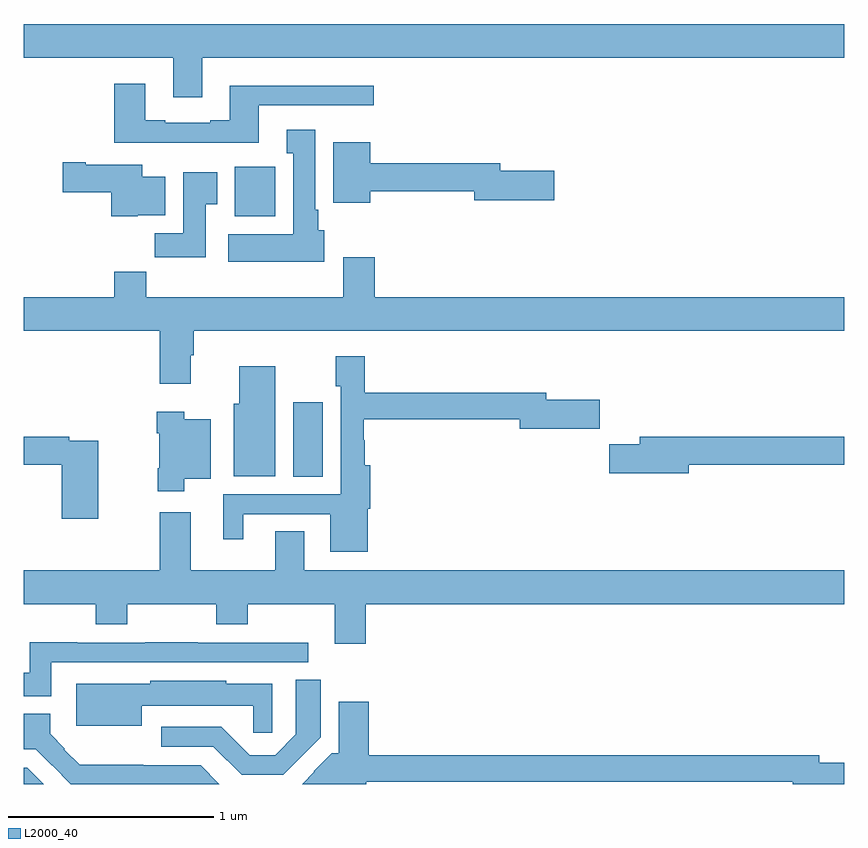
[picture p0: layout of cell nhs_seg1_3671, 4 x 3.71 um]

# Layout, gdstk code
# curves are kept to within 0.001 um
import gdstk
lib = gdstk.Library(unit=1e-6, precision=1e-09)
def R(c, l, rs):  # rectangles x0, y0, x1, y1
    for r in rs: c.add(gdstk.rectangle(r[:2], r[2:], *l))
def P(c, l, *ps):  # polygons
    for p in ps: c.add(gdstk.Polygon(p, *l))
L2000_40 = (2000, 40)

nhs_seg1_3671 = lib.new_cell('nhs_seg1_3671')
R(nhs_seg1_3671, L2000_40, [(312.314,541.696,312.457,542.059), (312.029,542.966,312.226,543.208)])
P(nhs_seg1_3671, L2000_40, [(311.869,543.74),(315,543.74),(315,543.904),(311,543.904),(311,543.74),(311.729,543.74),(311.729,543.546),(311.869,543.546)],
  [(312.145,543.507),(312.706,543.507),(312.706,543.604),(312.005,543.604),(312.005,543.436),(311.909,543.436),(311.909,543.423),(311.689,543.423),(311.689,543.436),(311.593,543.436),(311.593,543.613),(311.441,543.613),(311.441,543.326),(312.145,543.326)],
  [(312.466,542.898),(312.436,542.898),(312.436,542.998),(312.421,542.998),(312.421,543.388),(312.281,543.388),(312.281,543.275),(312.314,543.275),(312.314,542.878),(311.997,542.878),(311.997,542.744),(312.466,542.744)],
  [(312.688,543.088),(313.196,543.088),(313.196,543.046),(313.585,543.046),(313.585,543.188),(313.324,543.188),(313.324,543.224),(312.688,543.224),(312.688,543.328),(312.509,543.328),(312.509,543.032),(312.688,543.032)],
  [(311.556,542.972),(311.689,542.972),(311.689,543.16),(311.578,543.16),(311.578,543.217),(311.302,543.217),(311.302,543.23),(311.19,543.23),(311.19,543.083),(311.426,543.083),(311.426,542.966),(311.556,542.966)],
  [(311.887,543.025),(311.944,543.025),(311.944,543.181),(311.777,543.181),(311.777,542.884),(311.638,542.884),(311.638,542.766),(311.887,542.766)],
  [(311.815,542.288),(311.828,542.288),(311.828,542.408),(315,542.408),(315,542.572),(312.71,542.572),(312.71,542.767),(312.557,542.767),(312.557,542.572),(311.597,542.572),(311.597,542.696),(311.441,542.696),(311.441,542.572),(311,542.572),(311,542.408),(311.663,542.408),(311.663,542.151),(311.815,542.151)],
  [(312.676,541.542),(312.689,541.542),(312.689,541.753),(312.662,541.753),(312.662,541.875),(312.658,541.875),(312.658,541.978),(313.418,541.978),(313.418,541.931),(313.807,541.931),(313.807,542.073),(313.546,542.073),(313.546,542.107),(312.662,542.107),(312.662,542.284),(312.52,542.284),(312.52,542.139),(312.546,542.139),(312.546,541.611),(311.972,541.611),(311.972,541.392),(312.07,541.392),(312.07,541.515),(312.494,541.515),(312.494,541.331),(312.676,541.331)],
  [(312.226,542.236),(312.05,542.236),(312.05,542.052),(312.023,542.052),(312.023,541.7),(312.226,541.7)],
  [(311.782,541.688),(311.911,541.688),(311.911,541.978),(311.782,541.978),(311.782,542.014),(311.648,542.014),(311.648,541.91),(311.66,541.91),(311.66,541.738),(311.653,541.738),(311.653,541.626),(311.782,541.626)],
  [(311.364,541.872),(311.222,541.872),(311.222,541.892),(311,541.892),(311,541.756),(311.186,541.756),(311.186,541.491),(311.364,541.491)],
  [(314.242,541.756),(315,541.756),(315,541.892),(314.003,541.892),(314.003,541.856),(313.854,541.856),(313.854,541.714),(314.242,541.714)],
  [(311,541.076),(311.35,541.076),(311.35,540.977),(311.505,540.977),(311.505,541.076),(311.938,541.076),(311.938,540.977),(312.093,540.977),(312.093,541.076),(312.515,541.076),(312.515,540.882),(312.668,540.882),(312.668,541.076),(315,541.076),(315,541.24),(312.367,541.24),(312.367,541.43),(312.227,541.43),(312.227,541.24),(311.815,541.24),(311.815,541.525),(311.663,541.525),(311.663,541.24),(311,541.24)],
  [(311.134,540.792),(312.388,540.792),(312.388,540.888),(311.849,540.888),(311.849,540.89),(311.593,540.89),(311.593,540.888),(311.261,540.888),(311.261,540.89),(311.03,540.89),(311.03,540.742),(311,540.742),(311,540.626),(311.134,540.626)],
  [(312.361,540.339),(312.448,540.427),(312.448,540.707),(312.327,540.707),(312.327,540.441),(312.225,540.339),(312.102,540.339),(311.964,540.477),(311.67,540.477),(311.67,540.381),(311.924,540.381),(312.062,540.243),(312.265,540.243)],
  [(312.212,540.688),(311.988,540.688),(311.988,540.703),(311.616,540.703),(311.616,540.688),(311.256,540.688),(311.256,540.482),(311.575,540.482),(311.575,540.581),(312.118,540.581),(312.118,540.45),(312.212,540.45)],
  [(312.67,540.21),(314.75,540.21),(314.75,540.199),(315,540.199),(315,540.302),(314.878,540.302),(314.878,540.338),(312.683,540.338),(312.683,540.601),(312.536,540.601),(312.536,540.349),(312.502,540.349),(312.414,540.261),(312.417,540.258),(312.358,540.199),(312.67,540.199)],
  [(311.862,540.291),(311.582,540.291),(311.582,540.293),(311.273,540.293),(311.198,540.367),(311.201,540.37),(311.128,540.443),(311.128,540.541),(311,540.541),(311,540.368),(311.059,540.368),(311.23,540.199),(311.954,540.199)],
  [(311.017,540.279),(311,540.279),(311,540.199),(311.097,540.199)])

lib.write_gds('nhs_seg1_3671.gds')
